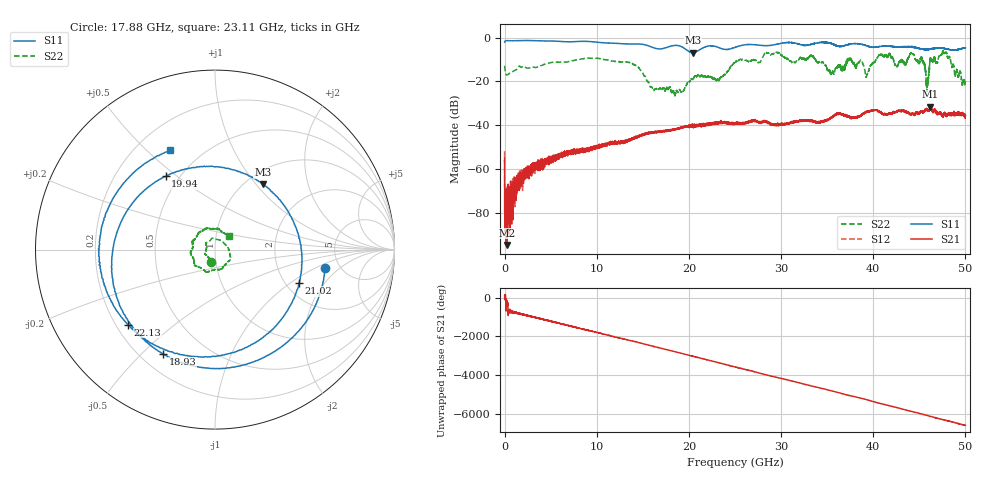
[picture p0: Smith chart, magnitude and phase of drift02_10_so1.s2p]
!Created with skrf (http://scikit-rf.org).
# Hz S RI R 50.0
!freq ReS11 ImS11 ReS21 ImS21 ReS12 ImS12 ReS22 ImS22
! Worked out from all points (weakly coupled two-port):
!   10001 points, 300 kHz to 50 GHz, reference 50 ohm
!   highest |S21| = -31.44 dB at 46.2 GHz (marker M1); lowest = -94.4 dB at 280.3 MHz (marker M2)
!   lowest |S11| = -6.9 dB at 20.44 GHz (marker M3), VSWR 2.64, Z = 59.3 + j54.2 ohm
!   |S11| at or under -10 dB: nowhere
!   |S22| runs from -26.5 to -6.1 dB; largest |S21 - S12| = 0.0032
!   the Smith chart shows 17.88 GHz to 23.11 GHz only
!   S11 on the Smith chart (normalised r, x): 17.88 GHz: 3.84, -1.27; 18.93 GHz: 0.29, -0.58; 19.94 GHz: 0.42, +0.46; 21.02 GHz: 2.35, -1.17; 22.13 GHz: 0.25, -0.35; 23.11 GHz: 0.34, +0.59
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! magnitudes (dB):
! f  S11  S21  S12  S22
! 300 kHz  -2.1  -54.7  -51.7  -12.8
! 280.3 MHz  -1.4  -94.4  -80.7  -17.0
! 3.125 GHz  -1.4  -58.1  -57.0  -13.4
! 8.335 GHz  -1.7  -50.4  -51.5  -9.7
! 13.7 GHz  -2.9  -46.3  -46.6  -11.6
! 16.67 GHz  -5.2  -42.9  -43.1  -23.5
! 17.88 GHz  -4.1  -42.2  -42.2  -22.8
! 18.93 GHz  -3.7  -41.2  -41.4  -23.9
! 19.94 GHz  -6.1  -40.5  -40.4  -20.0
! 20.44 GHz  -6.9  -40.1  -40.3  -19.1
! 21.02 GHz  -6.0  -39.7  -40.1  -16.9
! 22.13 GHz  -3.9  -39.2  -39.4  -17.7
! 23.11 GHz  -4.4  -38.8  -38.9  -19.1
! 25 GHz  -4.5  -39.2  -39.4  -11.5
! 33.34 GHz  -3.1  -37.9  -37.8  -8.3
! 39.32 GHz  -3.8  -33.8  -33.6  -17.1
! 41.67 GHz  -4.0  -34.6  -34.8  -7.7
! 44.25 GHz  -4.1  -34.6  -34.6  -7.4
! 45.86 GHz  -5.5  -32.8  -32.7  -19.6
! 46.2 GHz  -5.2  -31.4  -31.7  -9.0
! 47.75 GHz  -5.0  -34.0  -34.3  -7.2
! 50 GHz  -4.7  -35.4  -35.5  -20.0
